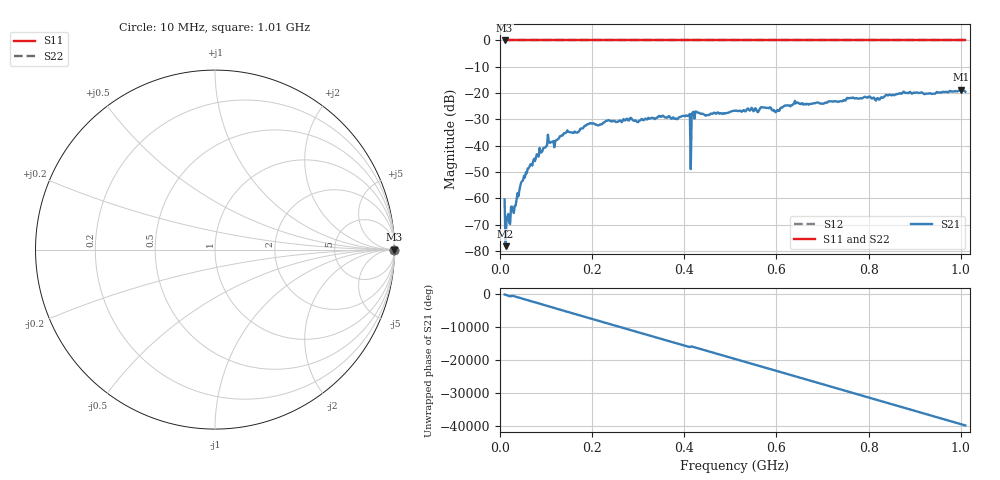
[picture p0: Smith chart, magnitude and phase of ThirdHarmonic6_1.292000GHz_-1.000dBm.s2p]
! 8/16/2025 2:08:59 PM
! C:\ANRITSUVNA\TEMP\TEMP.S2P
! CHANNEL.1
! TR.MEASUREMENT
! RAW.DATA
! RF.CORRECTION.OFF
! AVERAGING.OFF
! IF.BANDWIDTH: 5KHZ
! SWEEPTYPE:  FREQ.SWEEP(Linear)
! Reference Plane Port Info
! PORT:  PORT1  PORT2
! DISTANCE:  0  m  0  m
! TIME:  0  s  0  s
! PHASE.OFFSET:  0  deg.  0  deg.
! LOSS:  0  dB  0  dB
! REF.LOSS:  0  dB  0  dB
! REF.FREQ:  0  Hz  0  Hz
! Power Info
! POWER:  -20  dBm  -20  dBm
! EFF.POWER:  -20  dBm  -20  dBm
! SOURCE.ATTEN:  0  dB  0  dB
! TEST.ATTEN:  0  dB  0  dB
# GHZ S RI R 50.0
! FREQ.GHZ  S11RE  S11IM  S21RE  S21IM  S12RE  S12IM  S22RE  S22IM
!; PortSelection: Port_12
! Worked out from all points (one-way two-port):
!   501 points, 10 MHz to 1.01 GHz, reference 50 ohm
!   highest |S21| = -18.67 dB at 1 GHz (marker M1); lowest = -78.2 dB at 12 MHz (marker M2)
!   lowest |S11| = 0.0 dB at 10 MHz (marker M3)
!   |S11| at or under -10 dB: nowhere
!   |S22| runs from 0.0 to 0.0 dB; largest |S21 - S12| = 1.1
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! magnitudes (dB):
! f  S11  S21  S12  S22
! 10 MHz  0.0  -60.4  0.0  0.0
! 12 MHz  0.0  -78.2  0.0  0.0
! 16 MHz  0.0  -66.9  0.0  0.0
! 56 MHz  0.0  -50.2  0.0  0.0
! 102 MHz  0.0  -40.0  0.0  0.0
! 178 MHz  0.0  -33.4  0.0  0.0
! 234 MHz  0.0  -30.4  0.0  0.0
! 344 MHz  0.0  -28.8  0.0  0.0
! 408 MHz  0.0  -28.7  0.0  0.0
! 410 MHz  0.0  -28.4  0.0  0.0
! 418 MHz  0.0  -27.4  0.0  0.0
! 420 MHz  0.0  -27.1  0.0  0.0
! 428 MHz  0.0  -27.4  0.0  0.0
! 450 MHz  0.0  -28.4  0.0  0.0
! 510 MHz  0.0  -26.7  0.0  0.0
! 570 MHz  0.0  -25.5  0.0  0.0
! 602 MHz  0.0  -26.4  0.0  0.0
! 642 MHz  0.0  -24.0  0.0  0.0
! 678 MHz  0.0  -24.0  0.0  0.0
! 844 MHz  0.0  -20.8  0.0  0.0
! 1 GHz  0.0  -18.7  0.0  0.0
! 1.01 GHz  0.0  -19.5  0.0  0.0
